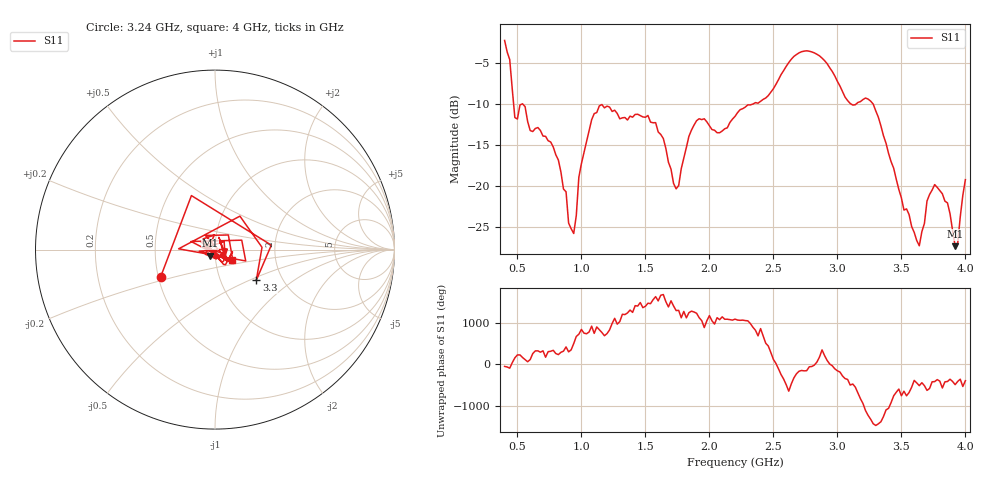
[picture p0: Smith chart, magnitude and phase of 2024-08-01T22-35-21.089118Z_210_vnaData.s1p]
!Created with skrf (http://scikit-rf.org).
# Hz S RI R 50.0
!freq ReS11 ImS11
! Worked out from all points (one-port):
!   181 points, 400 MHz to 4 GHz, reference 50 ohm
!   lowest |S11| = -27.3 dB at 3.92 GHz (marker M1), VSWR 1.09, Z = 47.3 - j3.2 ohm
!   |S11| at or under -10 dB: 470.3 MHz to 539 MHz (68.75 MHz wide, 13.6 % of centre); 540.4 MHz to 2.343 GHz (1.802 GHz wide, 125 % of centre); 3.278 GHz to end of sweep (the widest 3 of 4)
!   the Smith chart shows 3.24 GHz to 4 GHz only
!   S11 on the Smith chart (normalised r, x): 3.24 GHz: 0.52, -0.18; 3.3 GHz: 1.48, -0.55; 4 GHz: 1.20, -0.14
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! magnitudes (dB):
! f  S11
! 400 MHz  -2.3
! 440 MHz  -4.6
! 480 MHz  -11.7
! 540 MHz  -10.0
! 600 MHz  -13.2
! 760 MHz  -14.6
! 860 MHz  -20.3
! 940 MHz  -25.7
! 980 MHz  -18.9
! 1.08 GHz  -11.9
! 1.16 GHz  -10.1
! 1.3 GHz  -11.8
! 1.58 GHz  -12.3
! 1.76 GHz  -19.9
! 1.9 GHz  -12.0
! 2.08 GHz  -13.5
! 2.2 GHz  -11.5
! 2.66 GHz  -4.2
! 2.86 GHz  -4.2
! 3.1 GHz  -10.0
! 3.24 GHz  -9.4
! 3.3 GHz  -10.9
! 3.56 GHz  -23.4
! 3.64 GHz  -27.2
! 3.76 GHz  -19.8
! 3.86 GHz  -22.0
! 3.92 GHz  -27.3
! 4 GHz  -19.2
